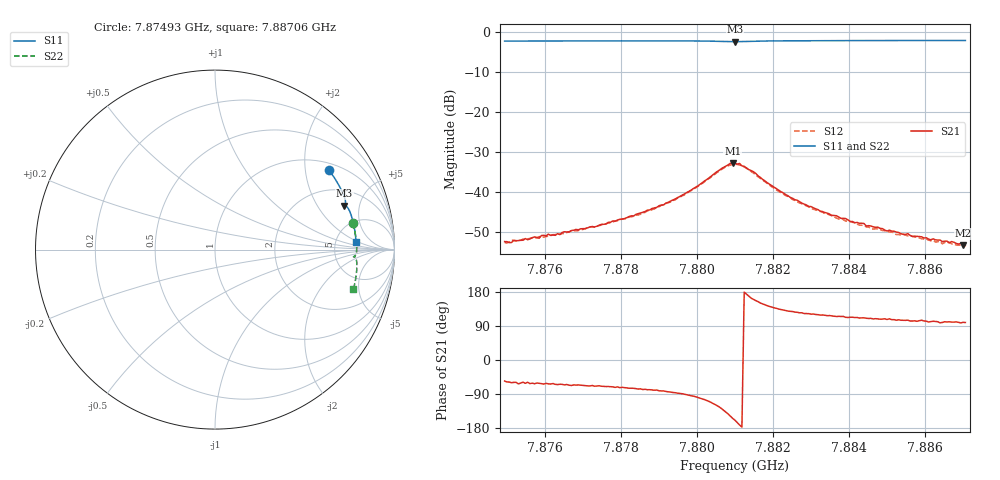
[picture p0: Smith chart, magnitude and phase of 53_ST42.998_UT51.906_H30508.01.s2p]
#  HZ  S  DB  R  50.00
! Rohde & Schwarz Vector Network Analyzer
! Rohde-Schwarz,ZNB20-2Port,1311601062101988,3.16
! Created: UTC 1/12/2023, 6:33:05 PM
! freq[Hz]  db:S11  ang:S11  db:S21  ang:S21  db:S12  ang:S12  db:S22  ang:S22
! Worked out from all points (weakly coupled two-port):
!   201 points, 7.87493 GHz to 7.88706 GHz, reference 50 ohm
!   highest |S21| = -32.77 dB at 7.88093 GHz (marker M1); lowest = -53.3 dB at 7.887 GHz (marker M2)
!   lowest |S11| = -2.4 dB at 7.88099 GHz (marker M3), VSWR 7.38, Z = 153 + j178 ohm
!   |S11| at or under -10 dB: nowhere
!   |S22| runs from -2.2 to -1.9 dB; largest |S21 - S12| = 0.0018
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7.874925e9  -2.23 34.8  -52.38 -55.5  -52.63 -62.3  -2.14 10.8
7.875107e9  -2.22 34.2  -52.63 -60.0  -52.05 -61.7  -2.14 10.3
7.875714e9  -2.21 32.6  -51.22 -62.7  -51.32 -65.4  -2.11 8.8
7.875835e9  -2.21 32.3  -51.55 -61.4  -51.13 -64.7  -2.11 8.5
7.875896e9  -2.21 32.1  -50.87 -62.6  -51.19 -65.6  -2.11 8.4
7.876381e9  -2.20 30.8  -50.65 -64.0  -50.57 -67.3  -2.10 7.3
7.876987e9  -2.19 29.1  -49.17 -66.9  -49.36 -70.9  -2.08 5.9
7.878322e9  -2.18 25.4  -45.98 -74.6  -46.05 -78.3  -2.06 2.8
7.878989e9  -2.18 23.6  -43.43 -81.2  -43.69 -84.2  -2.05 1.2
7.879717e9  -2.19 21.5  -40.18 -91.4  -40.34 -95.0  -2.05 -0.6
7.880627e9  -2.31 19.0  -34.18 -127.5  -34.38 -131.0  -2.17 -2.8
7.88093e9  -2.37 18.8  -32.77 -154.1  -33.10 -157.2  -2.24 -2.9
7.880991e9  -2.37 18.7  -32.81 -159.0  -33.05 -163.2  -2.24 -2.9
7.881294e9  -2.31 18.6  -33.97 173.7  -34.04 169.2  -2.19 -2.9
7.882446e9  -2.15 15.5  -41.33 128.4  -41.45 125.2  -2.01 -5.4
7.883053e9  -2.13 13.8  -43.93 121.2  -44.27 117.1  -1.98 -6.9
7.884023e9  -2.11 11.1  -47.35 112.8  -47.37 109.3  -1.95 -9.1
7.885054e9  -2.10 8.4  -49.54 108.7  -49.95 105.2  -1.94 -11.4
7.886449e9  -2.08 4.8  -52.39 99.1  -52.96 99.4  -1.92 -14.4
7.886631e9  -2.08 4.3  -52.72 100.8  -52.53 98.1  -1.92 -14.9
7.886995e9  -2.07 3.3  -53.31 99.5  -53.54 96.0  -1.92 -15.6
7.887056e9  -2.08 3.2  -53.23 99.0  -53.52 94.2  -1.92 -15.7
